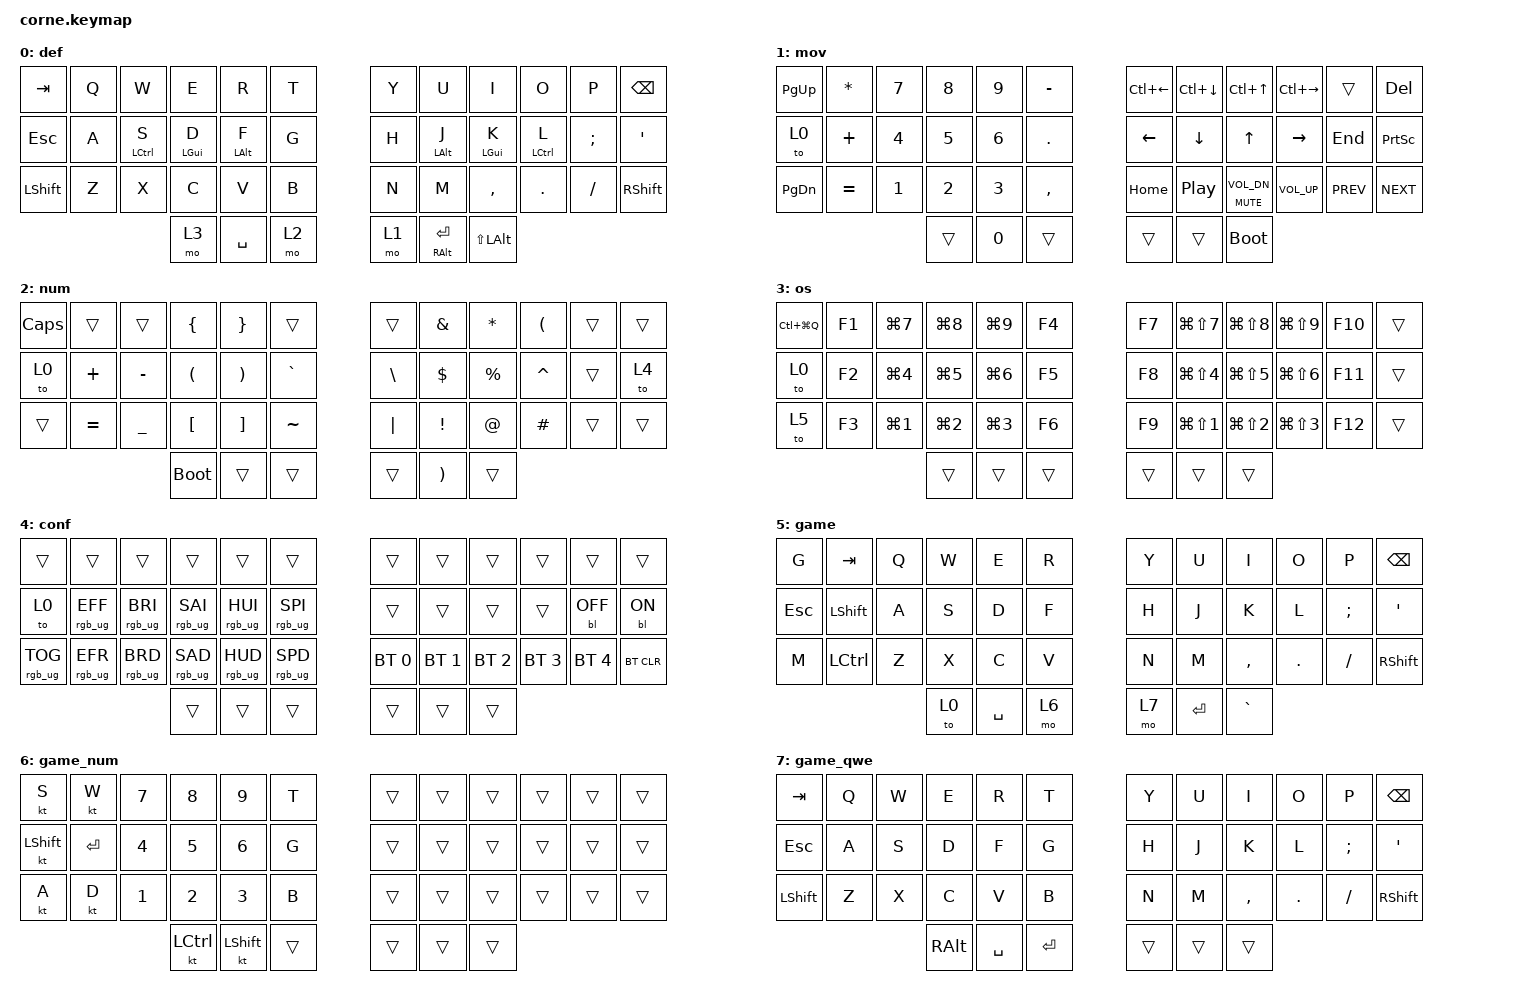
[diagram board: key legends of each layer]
/*
 * Copyright (c) 2020 The ZMK Contributors
 *
 * SPDX-License-Identifier: MIT
 */

#include <dt-bindings/led/led.h>
#include <behaviors.dtsi>
#include <dt-bindings/zmk/backlight.h>
#include <dt-bindings/zmk/bt.h>
#include <dt-bindings/zmk/keys.h>
#include <dt-bindings/zmk/rgb.h>

&pinctrl {
    spi3_default: spi3_default {
        group1 { psels = <NRF_PSEL(SPIM_MOSI, 0, 6)>; };
    };

    spi3_sleep: spi3_sleep {
        group1 {
            psels = <NRF_PSEL(SPIM_MOSI, 0, 6)>;
            low-power-enable;
        };
    };
};

&spi3 {
    compatible = "nordic,nrf-spim";
    status = "okay";
    pinctrl-0 = <&spi3_default>;
    pinctrl-1 = <&spi3_sleep>;
    pinctrl-names = "default", "sleep";

    led_strip: ws2812@0 {
        compatible = "worldsemi,ws2812-spi";
        label = "WS2812";

        /* SPI */

        reg = <0>; /* ignored, but necessary for SPI bindings */
        spi-max-frequency = <4000000>;

        /* WS2812 */

        chain-length = <27>; /* arbitrary; change at will */
        spi-one-frame = <0x70>;
        spi-zero-frame = <0x40>;
        color-mapping = <LED_COLOR_ID_GREEN LED_COLOR_ID_RED LED_COLOR_ID_BLUE>;
    };
};

/ {
    behaviors {
        bhm: balanced_homerow_mods {
            compatible = "zmk,behavior-hold-tap";
            label = "HOMEROW_MODS";
            #binding-cells = <2>;
            tapping-term-ms = <200>;    // <---[[moderate duration]]
            quick-tap-ms = <0>;
            flavor = "balanced";
            bindings = <&kp>, <&kp>;
        };
    };
};

/ {
    chosen { zmk,underglow = &led_strip; };
};

/ {
    keymap {
        compatible = "zmk,keymap";

        default_layer {
            bindings = <
&kp TAB     &kp Q  &kp W         &kp E        &kp R        &kp T    &kp Y  &kp U          &kp I         &kp O         &kp P     &kp BSPC
&kp ESCAPE  &kp A  &bhm LCTRL S  &bhm LGUI D  &bhm LALT F  &kp G    &kp H  &bhm LALT J    &bhm LGUI K   &bhm LCTRL L  &kp SEMI  &kp SQT
&kp LSHFT   &kp Z  &kp X         &kp C        &kp V        &kp B    &kp N  &kp M          &kp COMMA     &kp DOT       &kp FSLH  &kp RSHIFT
                                 &mo 3        &kp SPACE    &mo 2    &mo 1  &bhm RALT RET  &kp LS(LALT)
            >;

            label = "def";
        };

        move_layer {
            bindings = <
&kp PAGE_UP    &kp STAR   &kp N7  &kp N8  &kp N9  &kp MINUS    &kp LC(LEFT)  &kp LC(DOWN)  &kp LC(UP)           &kp LC(RIGHT)  &trans      &kp DEL
&to 0          &kp PLUS   &kp N4  &kp N5  &kp N6  &kp DOT      &kp LEFT      &kp DOWN      &kp UP               &kp RIGHT      &kp END     &kp PSCRN
&kp PAGE_DOWN  &kp EQUAL  &kp N1  &kp N2  &kp N3  &kp COMMA    &kp HOME      &kp C_PP      &mt K_MUTE C_VOL_DN  &kp C_VOL_UP   &kp C_PREV  &kp C_NEXT
                                  &trans  &kp N0  &trans       &trans        &trans        &bootloader
            >;

            label = "mov";
        };

        number_layer {
            bindings = <
&kp CAPS  &trans     &trans     &kp LBRC     &kp RBRC  &trans       &trans    &kp AMPS         &kp STAR   &kp LPAR   &trans  &trans
&to 0     &kp PLUS   &kp MINUS  &kp LPAR     &kp RPAR  &kp GRAVE    &kp BSLH  &kp DLLR         &kp PRCNT  &kp CARET  &trans  &to 4
&trans    &kp EQUAL  &kp UNDER  &kp LBKT     &kp RBKT  &kp TILDE    &kp PIPE  &kp EXCLAMATION  &kp AT     &kp HASH   &trans  &trans
                                &bootloader  &trans    &trans       &trans    &kp RPAR         &trans
            >;

            label = "num";
        };

        os_layer {
            bindings = <
&kp LC(LG(Q))  &kp F1  &kp LG(N7)  &kp LG(N8)  &kp LG(N9)  &kp F4    &kp F7  &kp LG(LS(N7))  &kp LG(LS(N8))  &kp LG(LS(N9))  &kp F10  &trans
&to 0          &kp F2  &kp LG(N4)  &kp LG(N5)  &kp LG(N6)  &kp F5    &kp F8  &kp LG(LS(N4))  &kp LG(LS(N5))  &kp LG(LS(N6))  &kp F11  &trans
&to 5          &kp F3  &kp LG(N1)  &kp LG(N2)  &kp LG(N3)  &kp F6    &kp F9  &kp LG(LS(N1))  &kp LG(LS(N2))  &kp LG(LS(N3))  &kp F12  &trans
                                   &trans      &trans      &trans    &trans  &trans          &trans
            >;

            label = "os";
        };

        config_layer {
            bindings = <
&trans           &trans           &trans           &trans           &trans           &trans             &trans        &trans        &trans        &trans        &trans        &trans
&to 0            &rgb_ug RGB_EFF  &rgb_ug RGB_BRI  &rgb_ug RGB_SAI  &rgb_ug RGB_HUI  &rgb_ug RGB_SPI    &trans        &trans        &trans        &trans        &bl BL_OFF    &bl BL_ON
&rgb_ug RGB_TOG  &rgb_ug RGB_EFR  &rgb_ug RGB_BRD  &rgb_ug RGB_SAD  &rgb_ug RGB_HUD  &rgb_ug RGB_SPD    &bt BT_SEL 0  &bt BT_SEL 1  &bt BT_SEL 2  &bt BT_SEL 3  &bt BT_SEL 4  &bt BT_CLR
                                                   &trans           &trans           &trans             &trans        &trans        &trans
            >;

            label = "conf";
        };

        gaming {
            bindings = <
&kp G    &kp TAB    &kp Q  &kp W  &kp E      &kp R    &kp Y  &kp U    &kp I      &kp O    &kp P     &kp BSPC
&kp ESC  &kp LSHFT  &kp A  &kp S  &kp D      &kp F    &kp H  &kp J    &kp K      &kp L    &kp SEMI  &kp APOS
&kp M    &kp LCTRL  &kp Z  &kp X  &kp C      &kp V    &kp N  &kp M    &kp COMMA  &kp DOT  &kp FSLH  &kp RSHFT
                           &to 0  &kp SPACE  &mo 6    &mo 7  &kp RET  &kp GRAVE
            >;

            label = "game";
        };

        gaming_numbers {
            bindings = <
&kt S      &kt W      &kp N7  &kp N8     &kp N9      &kp T     &trans  &trans  &trans  &trans  &trans  &trans
&kt LSHFT  &kp ENTER  &kp N4  &kp N5     &kp N6      &kp G     &trans  &trans  &trans  &trans  &trans  &trans
&kt A      &kt D      &kp N1  &kp N2     &kp N3      &kp B     &trans  &trans  &trans  &trans  &trans  &trans
                              &kt LCTRL  &kt LSHIFT  &trans    &trans  &trans  &trans
            >;

            label = "game_num";
        };

        gaming_qwerty {
            bindings = <
&kp TAB    &kp Q  &kp W  &kp E     &kp R      &kp T        &kp Y   &kp U   &kp I      &kp O    &kp P     &kp BSPC
&kp ESC    &kp A  &kp S  &kp D     &kp F      &kp G        &kp H   &kp J   &kp K      &kp L    &kp SEMI  &kp APOS
&kp LSHFT  &kp Z  &kp X  &kp C     &kp V      &kp B        &kp N   &kp M   &kp COMMA  &kp DOT  &kp FSLH  &kp RSHFT
                         &kp RALT  &kp SPACE  &kp ENTER    &trans  &trans  &trans
            >;

            label = "game_qwe";
        };
    };
};
